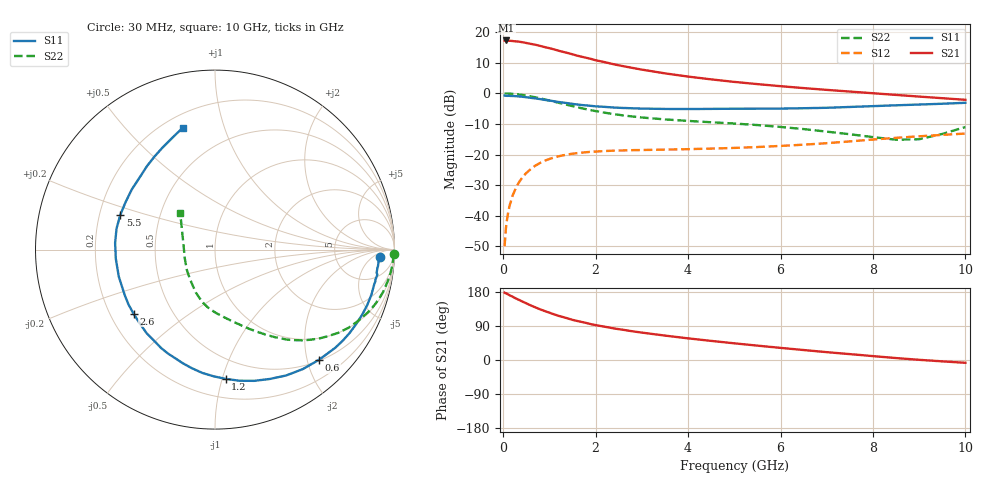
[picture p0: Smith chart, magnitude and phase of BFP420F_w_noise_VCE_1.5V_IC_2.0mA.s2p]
! Infineon Technologies  Discrete & RF Semiconductors
! BFP420F
! VCE =  1.5 V,  IC =  2.0 mA
! Common Emitter S-Parameters:  Sep 2011
# GHz  S  MA  R  50
!  f  S11  S21  S12  S22
! GHz  MAG  ANG  MAG  ANG  MAG  ANG  MAG  ANG
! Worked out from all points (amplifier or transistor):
!   54 points, 30 MHz to 10 GHz, reference 50 ohm
!   highest |S21| = 17.3 dB at 70 MHz (marker M1)
!   |S21| within 3 dB of that: start of sweep to 1.12 GHz
!   unconditionally stable (mu >= 1): 3.198 GHz to end of sweep
!   at 120 MHz: K = 0.02, MSG = 27.6 dB, |S12| = -37.9 dB
!   at 1.3 GHz: K = 0.32, MSG = 16.9 dB, |S12| = -20.2 dB
!   at 10 GHz: K = 1.57, MAG = 1.1 dB, |S12| = -13.1 dB
!   lowest NFmin = 0.81 dB at 450 MHz
!   S11 on the Smith chart (normalised r, x): 30 MHz: 19, -9; 600 MHz: 0.52, -2.22; 1.2 GHz: 0.34, -1.03; 2.6 GHz: 0.30, -0.32; 5.5 GHz: 0.29, +0.16; 10 GHz: 0.27, +0.73
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0.03  0.9181 -2.4  7.288 177.7  0.0032 90.0  0.995 -1.5
0.05  0.9136 -3.8  7.242 176.1  0.0052 87.7  0.9949 -2.4
0.07  0.9128 -5.7  7.308 175.6  0.0074 88.1  0.9936 -3.3
0.15  0.908 -12.2  7.217 170.0  0.0158 83.7  0.9876 -7.1
0.3  0.8965 -24.0  7.049 161.0  0.0313 77.3  0.9668 -14.0
0.4  0.8823 -31.8  6.859 155.0  0.0409 73.1  0.9449 -18.4
0.6  0.8442 -46.7  6.415 143.8  0.0585 64.9  0.8902 -26.6
0.8  0.8054 -60.6  5.953 133.6  0.0733 57.7  0.8291 -34.0
1  0.7631 -73.4  5.462 124.8  0.085 51.4  0.7638 -40.4
1.2  0.7225 -85.3  4.966 116.4  0.094 45.8  0.7013 -46.1
1.5  0.6733 -101.0  4.339 105.9  0.1035 39.1  0.6187 -53.2
1.7  0.6446 -110.1  3.96 100.3  0.1077 35.7  0.5707 -57.4
2  0.6138 -122.5  3.472 92.1  0.1122 31.4  0.5132 -63.0
2.4  0.5862 -136.1  2.974 83.2  0.1161 27.4  0.4579 -69.5
2.6  0.5774 -141.8  2.776 79.6  0.117 26.1  0.436 -72.3
3.5  0.5568 -164.3  2.121 64.4  0.1207 22.6  0.3756 -83.4
4.5  0.5578 176.2  1.692 50.4  0.1254 22.1  0.3376 -93.3
5.5  0.5619 160.0  1.416 37.9  0.133 23.2  0.3037 -102.6
7  0.5814 136.1  1.14 20.7  0.1536 25.0  0.2372 -121.2
8.5  0.6385 117.4  0.943 5.1  0.1879 22.8  0.175 -164.7
9  0.6569 112.9  0.886 0.5  0.1991 21.1  0.1783 170.4
10  0.7014 104.9  0.785 -7.4  0.2208 17.2  0.2825 133.3
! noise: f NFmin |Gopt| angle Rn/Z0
0.45  0.81  0.49  17  0.26
0.9  0.87  0.48  36  0.26
1.9  1.18  0.37  84  0.2
2.4  1.31  0.38  97  0.2
3.5  1.73  0.39  136  0.18
